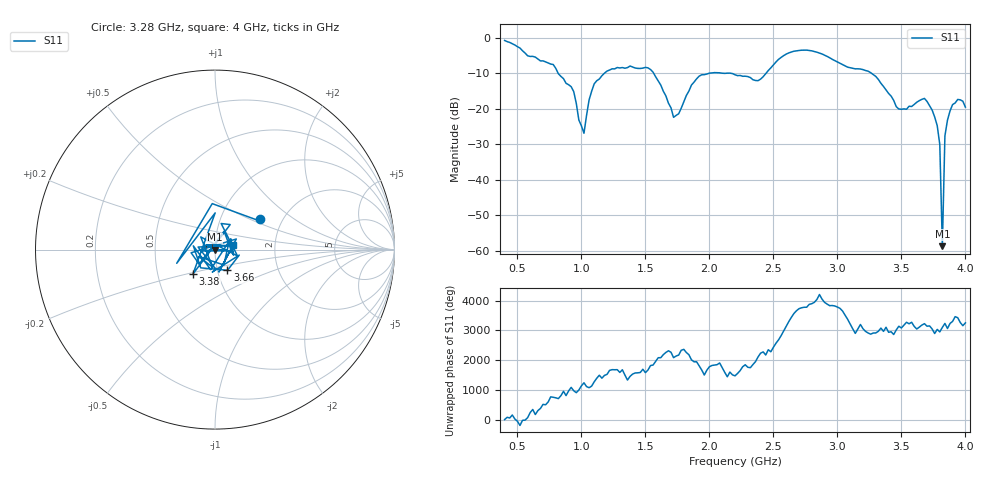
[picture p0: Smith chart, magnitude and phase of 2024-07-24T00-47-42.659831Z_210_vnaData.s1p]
!Created with skrf (http://scikit-rf.org).
# Hz S RI R 50.0
!freq ReS11 ImS11
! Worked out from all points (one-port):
!   181 points, 400 MHz to 4 GHz, reference 50 ohm
!   lowest |S11| = -58.8 dB at 3.82 GHz (marker M1), VSWR 1.00, Z = 49.9 - j0.0786 ohm
!   |S11| at or under -10 dB: 817.3 MHz to 1.182 GHz (364.5 MHz wide, 36.5 % of centre); 1.564 GHz to 2.012 GHz (448 MHz wide, 25.1 % of centre); 3.263 GHz to end of sweep (the widest 3 of 4)
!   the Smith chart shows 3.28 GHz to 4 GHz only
!   S11 on the Smith chart (normalised r, x): 3.28 GHz: 1.54, +0.57; 3.38 GHz: 0.76, -0.21; 3.66 GHz: 1.12, -0.26; 4 GHz: 1.22, +0.06
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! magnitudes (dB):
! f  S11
! 400 MHz  -0.8
! 860 MHz  -11.6
! 940 MHz  -15.2
! 980 MHz  -23.2
! 1.02 GHz  -27.0
! 1.06 GHz  -17.6
! 1.1 GHz  -13.0
! 1.3 GHz  -8.6
! 1.54 GHz  -9.0
! 1.72 GHz  -22.5
! 1.76 GHz  -21.5
! 1.92 GHz  -10.9
! 2.2 GHz  -10.5
! 2.38 GHz  -12.2
! 2.66 GHz  -3.9
! 3.1 GHz  -8.5
! 3.28 GHz  -10.4
! 3.38 GHz  -14.8
! 3.48 GHz  -20.1
! 3.56 GHz  -19.4
! 3.66 GHz  -17.4
! 3.78 GHz  -24.8
! 3.8 GHz  -30.1
! 3.82 GHz  -58.8
! 3.84 GHz  -27.7
! 3.86 GHz  -23.3
! 3.94 GHz  -17.4
! 4 GHz  -19.6
